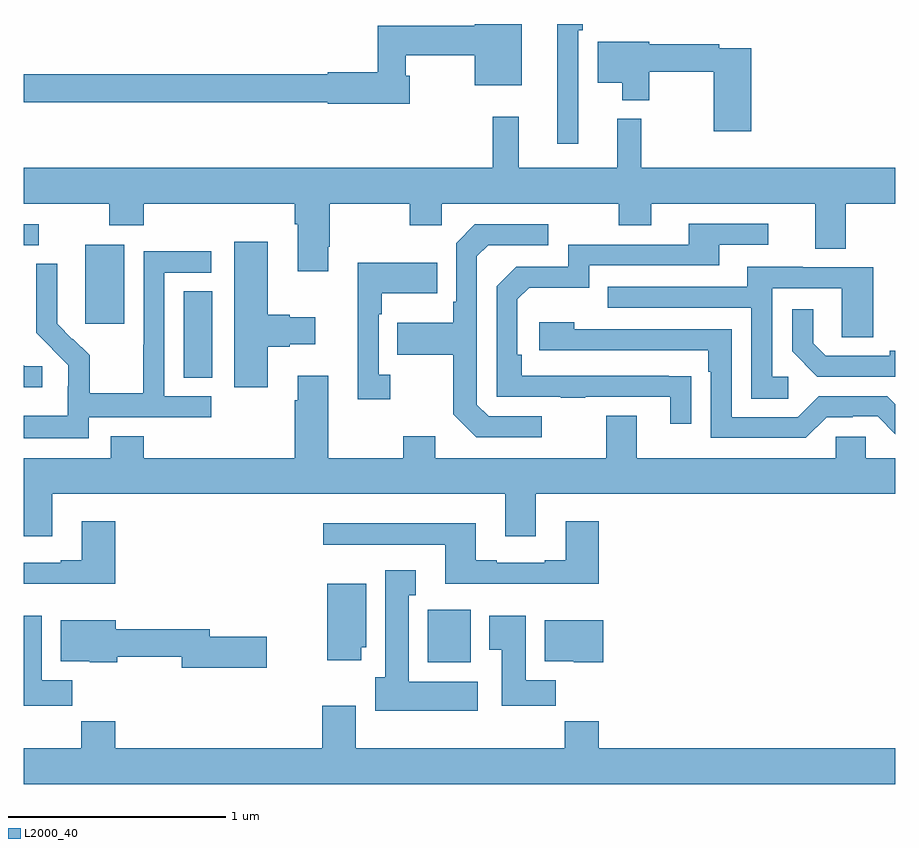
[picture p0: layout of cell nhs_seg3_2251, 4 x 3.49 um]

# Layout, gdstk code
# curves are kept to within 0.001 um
import gdstk
lib = gdstk.Library(unit=1e-6, precision=1e-09)
def R(c, l, rs):  # rectangles x0, y0, x1, y1
    for r in rs: c.add(gdstk.rectangle(r[:2], r[2:], *l))
def P(c, l, *ps):  # polygons
    for p in ps: c.add(gdstk.Polygon(p, *l))
L2000_40 = (2000, 40)

nhs_seg3_2251 = lib.new_cell('nhs_seg3_2251')
R(nhs_seg3_2251, L2000_40, [(228.854,705.47,229.051,705.712), (227.735,706.777,227.866,707.174), (227.282,707.025,227.461,707.386), (227,707.385,227.068,707.481)])
P(nhs_seg3_2251, L2000_40, [(228.772,708.163),(228.754,708.163),(228.754,708.256),(229.07,708.256),(229.07,708.119),(229.285,708.119),(229.285,708.4),(229.07,708.4),(229.07,708.392),(228.625,708.392),(228.625,708.178),(228.396,708.178),(228.396,708.17),(227,708.17),(227,708.042),(228.396,708.042),(228.396,708.034),(228.772,708.034)],
  [(229.545,708.371),(229.565,708.371),(229.565,708.4),(229.448,708.4),(229.448,707.85),(229.545,707.85)],
  [(230.339,708.288),(230.192,708.288),(230.192,708.308),(229.87,708.308),(229.87,708.319),(229.634,708.319),(229.634,708.131),(229.748,708.131),(229.748,708.05),(229.87,708.05),(229.87,708.18),(230.168,708.18),(230.168,707.907),(230.339,707.907)],
  [(228.397,707.377),(228.405,707.377),(228.405,707.576),(228.772,707.576),(228.772,707.477),(228.918,707.477),(228.918,707.576),(229.732,707.576),(229.732,707.477),(229.879,707.477),(229.879,707.576),(230.633,707.576),(230.633,707.368),(230.773,707.368),(230.773,707.576),(231,707.576),(231,707.74),(229.834,707.74),(229.834,707.965),(229.724,707.965),(229.724,707.74),(229.271,707.74),(229.271,707.974),(229.153,707.974),(229.153,707.74),(227,707.74),(227,707.576),(227.392,707.576),(227.392,707.477),(227.552,707.477),(227.552,707.576),(228.245,707.576),(228.245,707.48),(228.257,707.48),(228.257,707.265),(228.397,707.265)],
  [(230.063,706.784),(229.286,706.785),(229.286,706.882),(229.266,706.882),(229.266,707.136),(229.319,707.189),(229.596,707.189),(229.596,707.292),(230.191,707.292),(230.191,707.388),(230.416,707.388),(230.416,707.484),(230.051,707.484),(230.051,707.388),(229.5,707.388),(229.5,707.286),(229.26,707.286),(229.17,707.196),(229.17,706.689),(229.465,706.689),(229.465,706.684),(229.577,706.684),(229.577,706.689),(229.967,706.689),(229.967,706.566),(230.063,706.566)],
  [(229.378,706.599),(229.134,706.599),(229.08,706.653),(229.08,707.334),(229.131,707.385),(229.408,707.385),(229.408,707.481),(229.071,707.481),(228.984,707.394),(228.984,707.125),(228.972,707.125),(228.972,707.029),(228.715,707.029),(228.715,706.882),(228.972,706.882),(228.972,706.609),(229.077,706.503),(229.378,706.503)],
  [(228.121,706.919),(228.221,706.919),(228.221,706.931),(228.337,706.931),(228.337,707.053),(228.221,707.053),(228.221,707.066),(228.121,707.066),(228.121,707.401),(227.966,707.401),(227.966,706.734),(228.121,706.734)],
  [(227.298,706.596),(227.86,706.596),(227.86,706.692),(227.646,706.692),(227.646,707.259),(227.86,707.259),(227.86,707.358),(227.55,707.358),(227.55,706.928),(227.548,706.928),(227.548,706.705),(227.303,706.705),(227.303,706.879),(227.226,706.956),(227.223,706.953),(227.153,707.024),(227.154,707.3),(227.058,707.3),(227.058,706.982),(227.204,706.834),(227.204,706.737),(227.202,706.737),(227.202,706.603),(227,706.603),(227,706.499),(227.298,706.499)],
  [(228.682,706.79),(228.63,706.79),(228.63,707.069),(228.643,707.069),(228.643,707.165),(228.899,707.165),(228.899,707.305),(228.533,707.305),(228.533,706.677),(228.682,706.677)],
  [(230.509,706.782),(230.436,706.782),(230.436,707.187),(230.754,707.187),(230.754,706.963),(230.899,706.963),(230.899,707.283),(230.575,707.283),(230.575,707.287),(230.321,707.287),(230.321,707.193),(229.681,707.193),(229.681,707.097),(230.34,707.097),(230.34,706.681),(230.509,706.681)],
  [(231,706.901),(230.975,706.901),(230.975,706.878),(230.68,706.878),(230.623,706.935),(230.623,707.092),(230.526,707.092),(230.526,706.898),(230.642,706.782),(231,706.782)],
  [(230.685,706.596),(230.804,706.596),(230.804,706.599),(230.919,706.599),(231,706.518),(231,706.656),(230.964,706.692),(230.649,706.692),(230.553,706.596),(230.25,706.596),(230.25,706.998),(229.526,706.998),(229.526,707.032),(229.365,707.032),(229.365,706.902),(230.141,706.902),(230.141,706.805),(230.154,706.805),(230.154,706.5),(230.589,706.5)],
  [(227.086,706.83),(227.004,706.83),(227,706.834),(227,706.733),(227.086,706.733)],
  [(227.131,706.244),(229.211,706.244),(229.211,706.05),(229.351,706.05),(229.351,706.244),(231,706.244),(231,706.408),(230.865,706.408),(230.865,706.506),(230.727,706.506),(230.727,706.408),(229.813,706.408),(229.813,706.603),(229.673,706.603),(229.673,706.408),(228.889,706.408),(228.889,706.507),(228.742,706.507),(228.742,706.408),(228.397,706.408),(228.397,706.786),(228.257,706.786),(228.257,706.673),(228.245,706.673),(228.245,706.408),(227.552,706.408),(227.552,706.507),(227.399,706.507),(227.399,706.408),(227,706.408),(227,706.05),(227.131,706.05)],
  [(229.64,706.117),(229.487,706.117),(229.487,705.94),(229.391,705.94),(229.391,705.927),(229.171,705.927),(229.171,705.94),(229.075,705.94),(229.075,706.108),(228.375,706.108),(228.375,706.011),(228.935,706.011),(228.935,705.83),(229.64,705.83)],
  [(227.42,706.117),(227.267,706.117),(227.267,705.94),(227.171,705.94),(227.171,705.927),(227,705.927),(227,705.83),(227.42,705.83)],
  [(229.084,705.382),(228.766,705.382),(228.766,705.779),(228.799,705.779),(228.799,705.892),(228.659,705.892),(228.659,705.402),(228.614,705.402),(228.614,705.248),(229.084,705.248)],
  [(228.55,705.54),(228.571,705.54),(228.571,705.832),(228.392,705.832),(228.392,705.48),(228.55,705.48)],
  [(229.442,705.388),(229.303,705.388),(229.303,705.685),(229.136,705.685),(229.136,705.529),(229.193,705.529),(229.193,705.27),(229.442,705.27)],
  [(227.222,705.388),(227.083,705.388),(227.083,705.685),(227,705.685),(227,705.27),(227.222,705.27)],
  [(229.66,705.664),(229.391,705.664),(229.391,705.476),(229.524,705.476),(229.524,705.47),(229.66,705.47)],
  [(228.115,705.587),(227.854,705.587),(227.854,705.623),(227.422,705.623),(227.422,705.664),(227.171,705.664),(227.171,705.476),(227.304,705.476),(227.304,705.47),(227.43,705.47),(227.43,705.495),(227.726,705.495),(227.726,705.445),(228.115,705.445)],
  [(231,705.076),(229.64,705.076),(229.64,705.2),(229.483,705.2),(229.483,705.076),(228.523,705.076),(228.523,705.271),(228.371,705.271),(228.371,705.076),(227.42,705.076),(227.42,705.2),(227.263,705.2),(227.263,705.076),(227,705.076),(227,704.912),(231,704.912)])

lib.write_gds('nhs_seg3_2251.gds')
